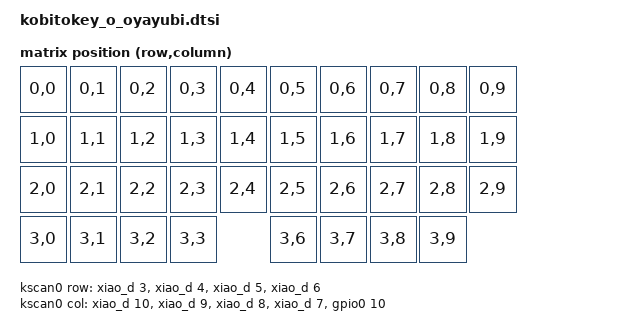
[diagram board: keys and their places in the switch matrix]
/*
 * kobitokey-o-oyayubi shield
 *
 * Hardware (per half): Seeed XIAO nRF52840 on the thumb unit, 4x5 matrix, and
 * a PMW3610 optical trackball in 3-wire SPI mode (SDIO shares MOSI/MISO).
 *
 * XIAO pin mapping (identical for left and right halves):
 *   D0  (P0_02) -> SDIO   (trackball, bidirectional data)
 *   D1  (P0_03) -> SCLK   (trackball clock)
 *   D2  (P0_28) -> MOTION (trackball IRQ, active low)
 *   D3  (P0_29) -> ROW0
 *   D4  (P0_04) -> ROW1
 *   D5  (P0_05) -> ROW2
 *   D6  (P1_11) -> ROW3
 *   D7  (P1_12) -> COL3
 *   D8  (P1_13) -> COL2
 *   D9  (P1_14) -> COL1
 *   D10 (P1_15) -> COL0
 *   NFC1 (P0_09) back pad -> NCS (trackball chip-select)
 *   NFC2 (P0_10) back pad -> COL4
 */

#include <dt-bindings/zmk/matrix_transform.h>
#include <dt-bindings/zmk/keys.h>
#include <zephyr/dt-bindings/input/input-event-codes.h>

/ {
    chosen {
        zmk,kscan = &kscan0;
        zmk,physical-layout = &default_layout;
    };

    default_transform: keymap_transform {
        compatible = "zmk,matrix-transform";
        columns = <10>;
        rows = <4>;
// Left half (cols 0..4)                    | Right half (cols 5..9, mirrored on the PCB)
//  SW0  SW1  SW2  SW3  SW4                 |  SW4  SW3  SW2  SW1  SW0
//  SW5  SW6  SW7  SW8  SW9                 |  SW9  SW8  SW7  SW6  SW5
//  SW10 SW11 SW12 SW13 SW14                |  SW14 SW13 SW12 SW11 SW10
//  SW15 SW16 SW17 SW18 (none)               | (none) SW18 SW17 SW16 SW15
        map = <
RC(0,0) RC(0,1) RC(0,2) RC(0,3) RC(0,4)  RC(0,5) RC(0,6) RC(0,7) RC(0,8) RC(0,9)
RC(1,0) RC(1,1) RC(1,2) RC(1,3) RC(1,4)  RC(1,5) RC(1,6) RC(1,7) RC(1,8) RC(1,9)
RC(2,0) RC(2,1) RC(2,2) RC(2,3) RC(2,4)  RC(2,5) RC(2,6) RC(2,7) RC(2,8) RC(2,9)
RC(3,0) RC(3,1) RC(3,2) RC(3,3)          RC(3,6) RC(3,7) RC(3,8) RC(3,9)
        >;
    };

    default_layout: physical_layout {
        compatible = "zmk,physical-layout";
        display-name = "kobitokey-o-oyayubi";
        transform = <&default_transform>;
        kscan = <&kscan0>;
    };

    kscan0: kscan {
        compatible = "zmk,kscan-gpio-matrix";
        wakeup-source;

        diode-direction = "col2row";
        row-gpios
            = <&xiao_d 3 (GPIO_ACTIVE_HIGH | GPIO_PULL_DOWN)>
            , <&xiao_d 4 (GPIO_ACTIVE_HIGH | GPIO_PULL_DOWN)>
            , <&xiao_d 5 (GPIO_ACTIVE_HIGH | GPIO_PULL_DOWN)>
            , <&xiao_d 6 (GPIO_ACTIVE_HIGH | GPIO_PULL_DOWN)>
            ;
        col-gpios
            = <&xiao_d 10 GPIO_ACTIVE_HIGH>  /* COL0 -> P1_15 */
            , <&xiao_d 9  GPIO_ACTIVE_HIGH>  /* COL1 -> P1_14 */
            , <&xiao_d 8  GPIO_ACTIVE_HIGH>  /* COL2 -> P1_13 */
            , <&xiao_d 7  GPIO_ACTIVE_HIGH>  /* COL3 -> P1_12 */
            , <&gpio0 10  GPIO_ACTIVE_HIGH>  /* COL4 -> P0_10 (NFC2 back pad) */
            ;
    };

    trackball_listener: trackball_listener {
        compatible = "zmk,input-listener";
        device = <&trackball>;
    };
};

&pinctrl {
    spi0_default: spi0_default {
        group1 {
            psels = <NRF_PSEL(SPIM_SCK, 0, 3)>,
                    <NRF_PSEL(SPIM_MOSI, 0, 2)>,
                    <NRF_PSEL(SPIM_MISO, 0, 2)>;
        };
    };

    spi0_sleep: spi0_sleep {
        group1 {
            psels = <NRF_PSEL(SPIM_SCK, 0, 3)>,
                    <NRF_PSEL(SPIM_MOSI, 0, 2)>,
                    <NRF_PSEL(SPIM_MISO, 0, 2)>;
            low-power-enable;
        };
    };
};

&spi0 {
    status = "okay";
    compatible = "nordic,nrf-spim";
    pinctrl-0 = <&spi0_default>;
    pinctrl-1 = <&spi0_sleep>;
    pinctrl-names = "default", "sleep";
    cs-gpios = <&gpio0 9 GPIO_ACTIVE_LOW>;

    trackball: trackball@0 {
        status = "okay";
        compatible = "pixart,pmw3610-alt";
        reg = <0>;
        spi-max-frequency = <2000000>;
        irq-gpios = <&gpio0 28 (GPIO_ACTIVE_LOW | GPIO_PULL_UP)>;
        cpi = <800>;
        evt-type = <INPUT_EV_REL>;
        x-input-code = <INPUT_REL_X>;
        y-input-code = <INPUT_REL_Y>;
    };
};
